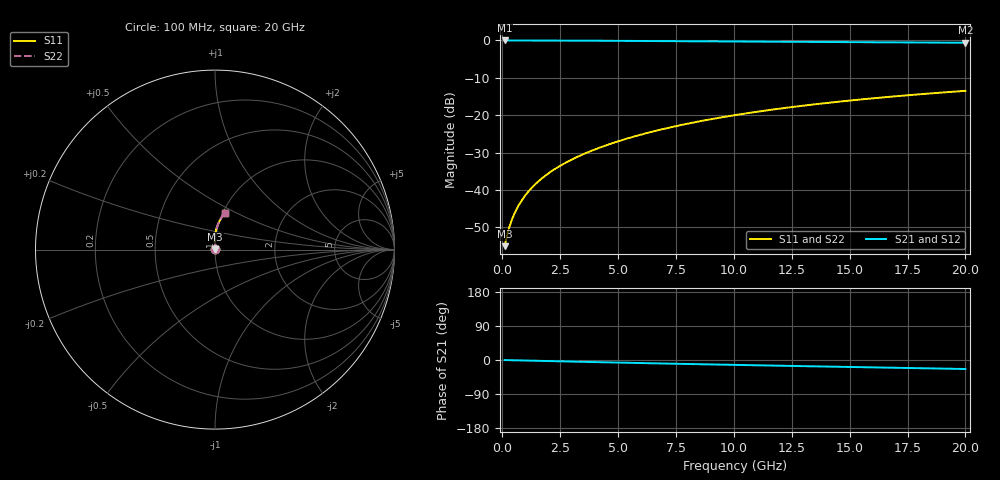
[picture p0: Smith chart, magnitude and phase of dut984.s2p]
! Touchstone file exported from HFSS 2024.1.0
!  File:  C:/UserFiles/LocalFiles/RDL_TSV_Batchsim/temp_RDL_bottom_984_1779943613.aedt
!  Generated:  12:49:14 PM May 28, 2026
!  Design:  RDL_bottom
!  Project:  temp_RDL_bottom_984_1779943613
!  Setup:  Setup1
!  Solution:  Sweep
! Variables:
!  dtsv = 10.80580581um
!  hbump = 3um
!  htsv = 90.62um
!  ldown = 333.75um
!  lrdl = 100um
!  p = 40
!  p1 = 48.88um
!  rhole = 1um
!  t = 450um
!  tdown = 3.54um
!  trdl = 3.915915916um
!  wdown = 26.68um
!  wrdl = 20um
# GHz S MA R 50.000000
! Terminal data exported
! Port[1] = RDL1_T1
! Port[2] = RDL1_T2
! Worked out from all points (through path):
!   200 points, 100 MHz to 20 GHz, reference 50 ohm
!   highest |S21| = -0.01 dB at 100 MHz (marker M1); lowest = -0.6 dB at 20 GHz (marker M2)
!   group delay of S21, straight-line fit = 3.25 ps
!   lowest |S11| = -55.0 dB at 100 MHz (marker M3), VSWR 1.00, Z = 50.1 + j0.0965 ohm
!   |S11| at or under -10 dB: start of sweep to end of sweep
!   |S22| runs from -55.0 to -13.5 dB; largest |S21 - S12| = 3.2e-15
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0.1  0.00178 32.7  0.9985 -0.2  0.9985 -0.2  0.00178 32.7
! Gamma 0 0 0 0
! Port Impedance 50 0 50 0
0.2  0.002449 49.5  0.9984 -0.3  0.9984 -0.3  0.002449 49.5
0.3  0.003181 58.2  0.9983 -0.4  0.9983 -0.4  0.003181 58.2
0.4  0.00392 63.8  0.9981 -0.6  0.9981 -0.6  0.00392 63.8
0.5  0.004666 67.8  0.998 -0.7  0.998 -0.7  0.004666 67.8
0.6  0.005422 70.9  0.9979 -0.9  0.9979 -0.9  0.005422 70.9
0.8  0.006963 75.3  0.9977 -1.1  0.9977 -1.1  0.006963 75.3
1.1  0.009338 79.6  0.9974 -1.6  0.9974 -1.6  0.009339 79.6
1.3  0.01096 81.6  0.9971 -1.9  0.9971 -1.9  0.01096 81.6
1.6  0.01343 83.7  0.9967 -2.3  0.9967 -2.3  0.01343 83.7
2.1  0.01765 86.2  0.9957 -3.0  0.9957 -3.0  0.01765 86.2
2.7  0.02288 88.1  0.9943 -3.8  0.9943 -3.8  0.02288 88.1
3.5  0.03018 89.7  0.992 -4.9  0.992 -4.9  0.03018 89.7
4.2  0.03686 90.5  0.9897 -5.8  0.9897 -5.8  0.03686 90.5
5  0.04481 91.0  0.9868 -6.9  0.9868 -6.9  0.04481 91.0
6.8  0.0638 90.7  0.9797 -9.1  0.9797 -9.1  0.0638 90.7
8.4  0.08158 89.5  0.9733 -11.0  0.9733 -11.0  0.08158 89.5
10.1  0.101 87.7  0.9666 -13.0  0.9666 -13.0  0.101 87.7
11.7  0.1194 85.8  0.9605 -14.8  0.9605 -14.8  0.1194 85.8
13.4  0.1389 83.6  0.9542 -16.7  0.9542 -16.7  0.1389 83.6
16.7  0.1761 79.2  0.9423 -20.3  0.9423 -20.3  0.1761 79.2
20  0.2118 74.9  0.9306 -23.8  0.9306 -23.8  0.2118 74.9
